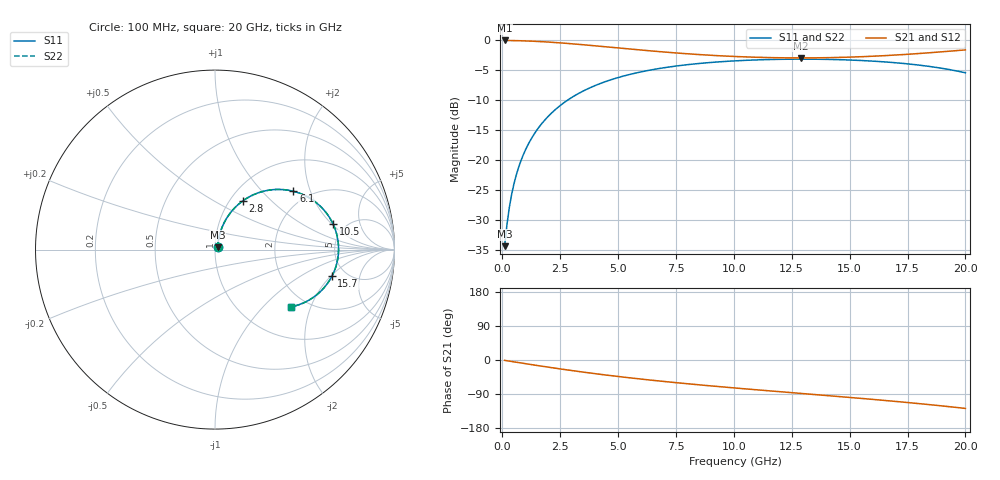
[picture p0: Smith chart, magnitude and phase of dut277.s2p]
! Touchstone file exported from HFSS 2026.1.0
!  File:  C:/ffzhzh/LocalFiles/Ansys_Project_Files/temp_train_TSV_RDL_277_1783085427_37648.aedt
!  Generated:  09:41:48 PM Jul  3, 2026
!  Design:  TSV_RDL
!  Project:  temp_train_TSV_RDL_277_1783085427_37648
! Variables:
!  h_bsmrdl = 5.74um
!  h_ox = 20um
!  h_rdl = 5um
!  h_sub = 69.57um
!  h_tmrdl = 5.02um
!  h_tsv = 69.57um
!  h_via = 3um
!  l_bsmrdl = 473.53um
!  l_sub = 2358.74um
!  l_tmrdl = 115.18um
!  m_sub = 200um
!  pitch = 58.63um
!  r_tsv = 3.25um
!  s_tmrdl = 10um
!  w_bsmrdl = 15.08um
!  w_sub = 500um
!  w_tmrdl = 10.73um
!  x_tsv_center1 = 120.545um
!  x_tsv_center2 = 609.155um
!  x_tsv_center3 = 735.065um
!  x_tsv_center4 = 1223.675um
!  x_tsv_center5 = 1349.585um
!  x_tsv_center6 = 1838.195um
# GHz S MA R 50.000000
! Terminal data exported
! Port[1] = TM_RDL1_1_T1
! Port[2] = TM_RDL5_1_T1
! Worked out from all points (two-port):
!   200 points, 100 MHz to 20 GHz, reference 50 ohm
!   highest |S21| = -0.13 dB at 100 MHz (marker M1); lowest = -3.0 dB at 12.9 GHz (marker M2)
!   |S21| within 3 dB of the highest: start of sweep to end of sweep
!   lowest |S11| = -34.4 dB at 100 MHz (marker M3), VSWR 1.04, Z = 51.5 + j1.24 ohm
!   |S11| at or under -10 dB: start of sweep to 2.851 GHz
!   |S22| runs from -34.4 to -3.2 dB; largest |S21 - S12| = 6.4e-14
!   S11 on the Smith chart (normalised r, x): 100 MHz: 1.03, +0.02; 2.8 GHz: 1.14, +0.69; 6.1 GHz: 1.67, +1.54; 10.5 GHz: 3.97, +2.08; 15.7 GHz: 3.84, -2.07; 20 GHz: 1.65, -1.47
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0.1  0.019 39.5  0.9855 -1.0  0.9855 -1.0  0.019 39.5
! Gamma 0 0 0 0
! Port Impedance 50 0 50 0
0.2  0.02859 57.2  0.985 -2.0  0.985 -2.0  0.02859 57.2
0.3  0.03952 65.0  0.9845 -3.0  0.9845 -3.0  0.03952 65.0
0.4  0.05088 68.9  0.9838 -3.9  0.9838 -3.9  0.05088 68.9
0.6  0.07403 72.2  0.982 -5.9  0.982 -5.9  0.07403 72.2
0.9  0.1089 73.0  0.9784 -8.8  0.9784 -8.8  0.1089 73.0
1.3  0.1548 71.4  0.9718 -12.6  0.9718 -12.6  0.1548 71.4
1.7  0.1993 68.8  0.9632 -16.3  0.9632 -16.3  0.1993 68.8
2.8  0.3115 60.4  0.9315 -26.2  0.9315 -26.2  0.3115 60.4
3.5  0.3739 54.9  0.9075 -32.0  0.9075 -32.0  0.3739 54.9
4.7  0.4641 46.0  0.8643 -41.3  0.8643 -41.3  0.4641 46.0
6.1  0.5446 36.6  0.8163 -51.1  0.8163 -51.1  0.5446 36.6
6.8  0.5763 32.3  0.7948 -55.6  0.7948 -55.6  0.5763 32.3
8.4  0.6309 23.1  0.7537 -65.0  0.7537 -65.0  0.6309 23.1
10.1  0.6671 14.3  0.7236 -74.1  0.7236 -74.1  0.6671 14.3
10.5  0.6728 12.3  0.7185 -76.2  0.7185 -76.2  0.6728 12.3
12.9  0.6886 0.7  0.7048 -88.2  0.7048 -88.2  0.6886 0.7
13.4  0.688 -1.7  0.7055 -90.7  0.7055 -90.7  0.688 -1.7
15.7  0.6678 -12.9  0.7238 -102.3  0.7238 -102.3  0.6678 -12.9
16.7  0.649 -18.0  0.7396 -107.7  0.7396 -107.7  0.6491 -18.0
18.3  0.6037 -26.8  0.7743 -116.9  0.7743 -116.9  0.6038 -26.8
20  0.53 -37.0  0.8224 -127.8  0.8224 -127.8  0.53 -37.0
